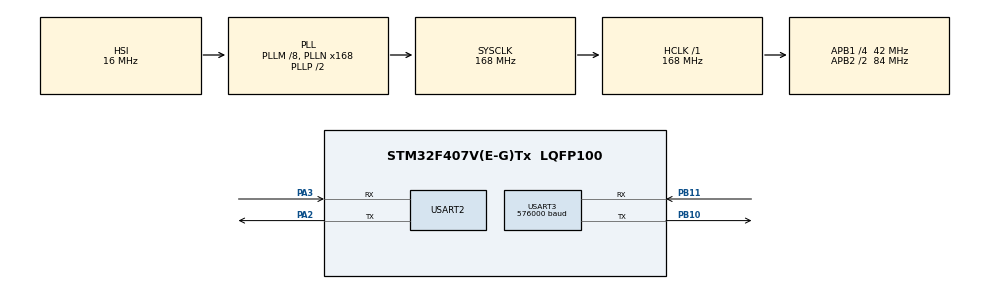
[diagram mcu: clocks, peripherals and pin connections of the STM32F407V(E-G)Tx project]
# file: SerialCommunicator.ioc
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Mcu.Family=STM32F4
Mcu.Name=STM32F407V(E-G)Tx
Mcu.Package=LQFP100
NVIC.PriorityGroup=NVIC_PRIORITYGROUP_4
NVIC.TIM6_DAC_IRQn=true\:7\:0\:true\:false\:true\:true\:true\:true
NVIC.TIM7_IRQn=true\:6\:0\:true\:false\:true\:true\:true\:true
NVIC.USART2_IRQn=true\:0\:0\:false\:false\:true\:true\:true\:true
NVIC.USART3_IRQn=true\:8\:0\:true\:false\:true\:true\:true\:true
PA2.Mode=Asynchronous
PA2.Signal=USART2_TX
PA3.Mode=Asynchronous
PA3.Signal=USART2_RX
PB10.Mode=Asynchronous
PB10.Signal=USART3_TX
PB11.Mode=Asynchronous
PB11.Signal=USART3_RX
PH0-OSC_IN.Mode=HSE-External-Oscillator
PH0-OSC_IN.Signal=RCC_OSC_IN
PH1-OSC_OUT.Mode=HSE-External-Oscillator
PH1-OSC_OUT.Signal=RCC_OSC_OUT
ProjectManager.HeapSize=0x200
ProjectManager.StackSize=0x400
ProjectManager.TargetToolchain=Makefile
RCC.48MHZClocksFreq_Value=84000000
RCC.AHBFreq_Value=168000000
RCC.APB1CLKDivider=RCC_HCLK_DIV4
RCC.APB1Freq_Value=42000000
RCC.APB1TimFreq_Value=84000000
RCC.APB2CLKDivider=RCC_HCLK_DIV2
RCC.APB2Freq_Value=84000000
RCC.APB2TimFreq_Value=168000000
RCC.CortexFreq_Value=168000000
RCC.HCLKFreq_Value=168000000
RCC.HSE_VALUE=8000000
RCC.HSI_VALUE=16000000
RCC.LSE_VALUE=32768
RCC.PLLM=8
RCC.PLLN=168
RCC.SYSCLKFreq_VALUE=168000000
RCC.SYSCLKSource=RCC_SYSCLKSOURCE_PLLCLK
RCC.VCOOutputFreq_Value=336000000
STMicroelectronics.X-CUBE-ALGOBUILD.1.4.0.LibraryCcDSPOoLibraryJjDSPOoLibrary=true
TIM6.Period=999
TIM6.Prescaler=839
TIM7.Period=999
TIM7.Prescaler=83
USART2.VirtualMode=VM_ASYNC
USART3.BaudRate=576000
USART3.VirtualMode=VM_ASYNC
VP_STMicroelectronics.X-CUBE-ALGOBUILD_VS_DSPOoLibraryJjLibrary_1.4.0_1.4.0.Mode=DSPOoLibraryJjLibrary
VP_TIM6_VS_ClockSourceINT.Mode=Enable_Timer
VP_TIM7_VS_ClockSourceINT.Mode=Enable_Timer
board=custom

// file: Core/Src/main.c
/* USER CODE BEGIN Header */
/**
  ******************************************************************************
  * @file           : main.c
  * @brief          : Main program body
  ******************************************************************************
  * @attention
  *
  * Copyright (c) 2025 STMicroelectronics.
  * All rights reserved.
  *
  * This software is licensed under terms that can be found in the LICENSE file
  * in the root directory of this software component.
  * If no LICENSE file comes with this software, it is provided AS-IS.
  *
  ******************************************************************************
  */
/* USER CODE END Header */
#include "main.h"

/* USER CODE BEGIN Includes */
#include <string.h>
#include "arm_math.h"
#include "printf.h"
/* USER CODE END Includes */

TIM_HandleTypeDef htim6;
TIM_HandleTypeDef htim7;

UART_HandleTypeDef huart2;
UART_HandleTypeDef huart3;

/* USER CODE BEGIN PV */
float32_t omega = 0.01, sinValue = 0, cosValue = 0;
int32_t globalTick = 0;
char buffer3[25], buffer2[10];
uint8_t waitTx2 = 0, waitTx3 = 0;

#define RX_BUFFER_SIZE  10
char rxBuffer[RX_BUFFER_SIZE];
uint8_t rxIndex = 0;
volatile float32_t voltage = 0;
/* USER CODE END PV */

void SystemClock_Config(void);
static void MX_GPIO_Init(void);
static void MX_TIM6_Init(void);
static void MX_USART3_UART_Init(void);
static void MX_TIM7_Init(void);
static void MX_USART2_UART_Init(void);
/* USER CODE BEGIN PFP */
void SendBuffer(UART_HandleTypeDef *huart, char* buffer) {
  uint64_t length = strlen(buffer);
  HAL_UART_Transmit_IT(huart, (uint8_t*) buffer, length);
}

void setVoltage (char *buffer, float32_t voltage) {
  int16_t pwc = 0;

  if(voltage > 0) {
      pwc = (int16_t) (83.296855952222570f * voltage + 6.699955398806081f);
  } else {
      pwc = (int16_t) (84.226798317384890f * voltage - 21.820956466774298f);
  }

  sprintf(buffer, "N1 O d%d\n", (int)pwc);
  SendBuffer(&huart2, buffer);
}

float32_t StringToFloat(const char *str) {
  float32_t floatNumber = 0.0f, fraction = 0.1f, sign = 1.0f;
  int checkFraction = 0;

  if (*str != 'V') {
    return 0.0f;  // Dữ liệu lỗi thì gửi giá trị 0.0 sẽ an toàn
  }

  str++;

  if (*str == '-') { // Kiểm tra dấu âm
    sign *= -1.0f;
    str++;
  }

  while (*str) {
    if (*str == '.') {  // Nếu gặp dấu '.'
      checkFraction = 1;
    }
    else if (*str >= '0' && *str <= '9') {  // Chỉ xử lý số
      float32_t eachNumber = (float32_t)(*str - '0');
      if (checkFraction) { // Xử lý phần thập phân
        floatNumber += eachNumber * fraction;
        fraction *= 0.1;
      } else {
        floatNumber = floatNumber * 10.0f + eachNumber;  // Xử lý phần nguyên
      }
    }
    str++;
  }

  return sign*floatNumber;
}

/* USER CODE END PFP */

/* USER CODE BEGIN 0 */
/**
  * @brief  Tx Transfer completed callbacks.
  * @param  huart  Pointer to a UART_HandleTypeDef structure that contains
  *                the configuration information for the specified UART module.
  * @retval None
  */
void HAL_UART_RxCpltCallback(UART_HandleTypeDef *huart){
  if(huart->Instance == USART3) {
    // if (rxIndex == 0) memset(rxBuffer, 0, RX_BUFFER_SIZE);

    if (rxBuffer[rxIndex] == '\n') {  // Gặp ký tự xuống dòng thì hoàn thành 1 chuỗi
      rxBuffer[rxIndex] = '\0';  // Đặt null để đảm bảo kết thúc chuỗi
      // memcpy(copyBuffer, rxBuffer, sizeof(rxBuffer));
      voltage = StringToFloat(rxBuffer);
      memset(rxBuffer, 0, RX_BUFFER_SIZE);
      rxIndex = 0;               // Reset lại index buffer
    }
    else {
      rxIndex++;
      if (rxIndex >= RX_BUFFER_SIZE) {
          rxIndex = 0;  // Tránh tràn buffer
      }
    }
    HAL_UART_Receive_IT(&huart3, (uint8_t *)&rxBuffer[rxIndex], 1);
  }
}

/**
  * @brief  Period elapsed callback in non-blocking mode
  * @param  htim TIM handle
  * @retval None
  */
void HAL_TIM_PeriodElapsedCallback(TIM_HandleTypeDef *htim) {
  if(htim->Instance == TIM6) {
    globalTick++;
    sinValue = 50.0f*arm_sin_f32(omega*globalTick);
    cosValue = 50.0f*arm_cos_f32(omega*globalTick);

    if (waitTx2) {
      setVoltage(buffer2, voltage);
      waitTx2 = 0;
    }

    // sprintf(buffer2, "N1 O d%d\n", 100);
    // SendBuffer(&huart2, buffer2);
  }

  else if(htim->Instance == TIM7) {
    sprintf(buffer3, "S%0.6f %0.6f\n", sinValue, cosValue);
    SendBuffer(&huart3, buffer3);
  }
}

/**
  * @brief  Tx Transfer completed callbacks.
  * @param  huart  Pointer to a UART_HandleTypeDef structure that contains
  *                the configuration information for the specified UART module.
  * @retval None
  */
void HAL_UART_TxCpltCallback(UART_HandleTypeDef *huart){
  if(huart->Instance == USART2) {
    waitTx2 = 1;
  }
  else if(huart->Instance == USART3) {
    waitTx3 = 1;
  }
}

/* USER CODE END 0 */

int main(void)
{

  /* MCU Configuration--------------------------------------------------------*/

  /* Reset of all peripherals, Initializes the Flash interface and the Systick. */
  HAL_Init();

  /* Configure the system clock */
  SystemClock_Config();

  /* Initialize all configured peripherals */
  MX_GPIO_Init();
  MX_TIM6_Init();
  MX_USART3_UART_Init();
  MX_TIM7_Init();
  MX_USART2_UART_Init();
  /* USER CODE BEGIN 2 */

  HAL_TIM_Base_Start_IT(&htim6);
  HAL_TIM_Base_Start_IT(&htim7);

  HAL_UART_Receive_IT(&huart3, (uint8_t *)&rxBuffer[rxIndex], 1);

  setVoltage(buffer2, voltage);

  /* USER CODE END 2 */

  /* Infinite loop */
  while (1)
  {

  }
}

void SystemClock_Config(void)
{
  RCC_OscInitTypeDef RCC_OscInitStruct = {0};
  RCC_ClkInitTypeDef RCC_ClkInitStruct = {0};

  /** Configure the main internal regulator output voltage
  */
  __HAL_RCC_PWR_CLK_ENABLE();
  __HAL_PWR_VOLTAGESCALING_CONFIG(PWR_REGULATOR_VOLTAGE_SCALE1);

  /** Initializes the RCC Oscillators according to the specified parameters
  * in the RCC_OscInitTypeDef structure.
  */
  RCC_OscInitStruct.OscillatorType = RCC_OSCILLATORTYPE_HSI;
  RCC_OscInitStruct.HSIState = RCC_HSI_ON;
  RCC_OscInitStruct.HSICalibrationValue = RCC_HSICALIBRATION_DEFAULT;
  RCC_OscInitStruct.PLL.PLLState = RCC_PLL_ON;
  RCC_OscInitStruct.PLL.PLLSource = RCC_PLLSOURCE_HSI;
  RCC_OscInitStruct.PLL.PLLM = 8;
  RCC_OscInitStruct.PLL.PLLN = 168;
  RCC_OscInitStruct.PLL.PLLP = RCC_PLLP_DIV2;
  RCC_OscInitStruct.PLL.PLLQ = 4;
  if (HAL_RCC_OscConfig(&RCC_OscInitStruct) != HAL_OK)
  {
    Error_Handler();
  }

  /** Initializes the CPU, AHB and APB buses clocks
  */
  RCC_ClkInitStruct.ClockType = RCC_CLOCKTYPE_HCLK|RCC_CLOCKTYPE_SYSCLK
                              |RCC_CLOCKTYPE_PCLK1|RCC_CLOCKTYPE_PCLK2;
  RCC_ClkInitStruct.SYSCLKSource = RCC_SYSCLKSOURCE_PLLCLK;
  RCC_ClkInitStruct.AHBCLKDivider = RCC_SYSCLK_DIV1;
  RCC_ClkInitStruct.APB1CLKDivider = RCC_HCLK_DIV4;
  RCC_ClkInitStruct.APB2CLKDivider = RCC_HCLK_DIV2;

  if (HAL_RCC_ClockConfig(&RCC_ClkInitStruct, FLASH_LATENCY_5) != HAL_OK)
  {
    Error_Handler();
  }
}

static void MX_TIM6_Init(void)
{

  TIM_MasterConfigTypeDef sMasterConfig = {0};

  htim6.Instance = TIM6;
  htim6.Init.Prescaler = 839;
  htim6.Init.CounterMode = TIM_COUNTERMODE_UP;
  htim6.Init.Period = 999;
  htim6.Init.AutoReloadPreload = TIM_AUTORELOAD_PRELOAD_DISABLE;
  if (HAL_TIM_Base_Init(&htim6) != HAL_OK)
  {
    Error_Handler();
  }
  sMasterConfig.MasterOutputTrigger = TIM_TRGO_RESET;
  sMasterConfig.MasterSlaveMode = TIM_MASTERSLAVEMODE_DISABLE;
  if (HAL_TIMEx_MasterConfigSynchronization(&htim6, &sMasterConfig) != HAL_OK)
  {
    Error_Handler();
  }

}

static void MX_TIM7_Init(void)
{

  TIM_MasterConfigTypeDef sMasterConfig = {0};

  htim7.Instance = TIM7;
  htim7.Init.Prescaler = 83;
  htim7.Init.CounterMode = TIM_COUNTERMODE_UP;
  htim7.Init.Period = 999;
  htim7.Init.AutoReloadPreload = TIM_AUTORELOAD_PRELOAD_DISABLE;
  if (HAL_TIM_Base_Init(&htim7) != HAL_OK)
  {
    Error_Handler();
  }
  sMasterConfig.MasterOutputTrigger = TIM_TRGO_RESET;
  sMasterConfig.MasterSlaveMode = TIM_MASTERSLAVEMODE_DISABLE;
  if (HAL_TIMEx_MasterConfigSynchronization(&htim7, &sMasterConfig) != HAL_OK)
  {
    Error_Handler();
  }

}

static void MX_USART2_UART_Init(void)
{

  huart2.Instance = USART2;
  huart2.Init.BaudRate = 115200;
  huart2.Init.WordLength = UART_WORDLENGTH_8B;
  huart2.Init.StopBits = UART_STOPBITS_1;
  huart2.Init.Parity = UART_PARITY_NONE;
  huart2.Init.Mode = UART_MODE_TX_RX;
  huart2.Init.HwFlowCtl = UART_HWCONTROL_NONE;
  huart2.Init.OverSampling = UART_OVERSAMPLING_16;
  if (HAL_UART_Init(&huart2) != HAL_OK)
  {
    Error_Handler();
  }

}

static void MX_USART3_UART_Init(void)
{

  huart3.Instance = USART3;
  huart3.Init.BaudRate = 576000;
  huart3.Init.WordLength = UART_WORDLENGTH_8B;
  huart3.Init.StopBits = UART_STOPBITS_1;
  huart3.Init.Parity = UART_PARITY_NONE;
  huart3.Init.Mode = UART_MODE_TX_RX;
  huart3.Init.HwFlowCtl = UART_HWCONTROL_NONE;
  huart3.Init.OverSampling = UART_OVERSAMPLING_16;
  if (HAL_UART_Init(&huart3) != HAL_OK)
  {
    Error_Handler();
  }

}

static void MX_GPIO_Init(void)
{

  /* GPIO Ports Clock Enable */
  __HAL_RCC_GPIOH_CLK_ENABLE();
  __HAL_RCC_GPIOA_CLK_ENABLE();
  __HAL_RCC_GPIOB_CLK_ENABLE();

}

void Error_Handler(void)
{
  __disable_irq();
  while (1)
  {
  }
}
